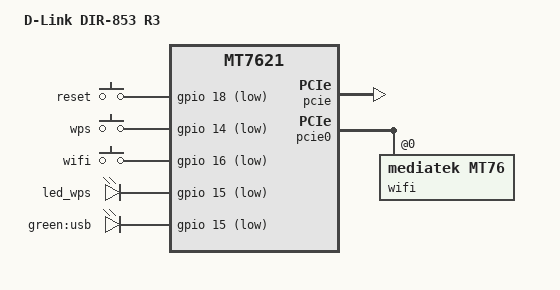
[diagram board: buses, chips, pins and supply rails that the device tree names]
// SPDX-License-Identifier: GPL-2.0-or-later OR MIT

#include "mt7621.dtsi"
#include "mt7621_dru_flash-nand128.dtsi"

#include <dt-bindings/gpio/gpio.h>
#include <dt-bindings/input/input.h>

/ {
	compatible = "dlink,dir-853-r3", "mediatek,mt7621-soc";
	model = "D-Link DIR-853 R3";

	aliases {
		label-mac-device = &gmac0;
		led-failsafe = &led_wps;
		led-upgrade = &led_wps;
	};

	keys {
		compatible = "gpio-keys";

		reset {
			label = "reset";
			gpios = <&gpio 18 GPIO_ACTIVE_LOW>;
			linux,code = <KEY_RESTART>;
		};

		wps {
			label = "wps";
			gpios = <&gpio 14 GPIO_ACTIVE_LOW>;
			linux,code = <KEY_WPS_BUTTON>;
		};

		wifi {
			label = "wifi";
			gpios = <&gpio 16 GPIO_ACTIVE_LOW>;
			linux,code = <KEY_RFKILL>;
		};
	};

	leds: leds {
		compatible = "gpio-leds";

		led_wps: led_wps {
			label = "led_wps";
			gpios = <&gpio 15 GPIO_ACTIVE_LOW>;
		};

		usb_green {
			label = "green:usb";
			gpios = <&gpio 15 GPIO_ACTIVE_LOW>;
			trigger-sources = <&xhci_ehci_port1>;
			linux,default-trigger = "usbport";
		};
	};
};

&pcie {
	status = "okay";
};

&pcie0 {
	wifi@0,0 {
		compatible = "mediatek,mt76";
		reg = <0x0000 0 0 0 0>;

		mediatek,mtd-eeprom = <&factory 0x0>;

		/* 5 GHz (phy1) does not take the address from calibration data,
		   but setting it manually here works */
		nvmem-cells = <&macaddr_factory_4>;
		nvmem-cell-names = "mac-address";
	};
};

&gmac0 {
	nvmem-cells = <&macaddr_factory_4>;
	nvmem-cell-names = "mac-address";
	mac-address-increment = <(-1)>;
};

&switch0 {
	ports {
		port@0 {
			status = "okay";
			label = "lan4";
		};

		port@1 {
			status = "okay";
			label = "lan3";
		};

		port@2 {
			status = "okay";
			label = "lan2";
		};

		port@3 {
			status = "okay";
			label = "lan1";
		};

		wan: port@4 {
			status = "okay";
			label = "wan";
			nvmem-cells = <&macaddr_factory_4>;
			nvmem-cell-names = "mac-address";
			mac-address-increment = <(-2)>;
		};
	};
};

&state_default {
	gpio {
		groups = "i2c", "uart3", "uart2", "jtag", "wdt";
		function = "gpio";
	};
};

&factory {
	compatible = "nvmem-cells";
	#address-cells = <1>;
	#size-cells = <1>;

	macaddr_factory_4: macaddr@4 {
		reg = <0x4 0x6>;
	};
};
